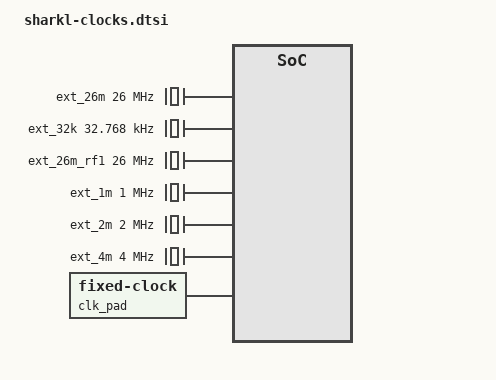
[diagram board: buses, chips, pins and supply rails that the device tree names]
/*
 * Spreadtrum Sharkl Series SoC Clock DTS file
 *
 * Copyright (C) 2015, Spreadtrum Communications Inc.
 *
 * This file is licensed under a dual GPLv2 or X11 license.
 */
&soc {
	ext_26m: ext-26m {
		compatible = "fixed-clock";
		#clock-cells = <0>;
		clock-frequency = <26000000>;
		clock-output-names = "ext_26m";
	};

	ext_32k: ext-32k {
		compatible = "fixed-clock";
		#clock-cells = <0>;
		clock-frequency = <32768>;
		clock-output-names = "ext_32k";
	};

	ext_26m_rf1: ext-26m-rf1 {
		compatible = "fixed-clock";
		#clock-cells = <0>;
		clock-frequency = <26000000>;
		clock-output-names = "ext_26m_rf1";
	};

	ext_1m: ext-1m {
		compatible = "fixed-clock";
		#clock-cells = <0>;
		clock-frequency = <1000000>;
		clock-output-names = "ext_1m";
	};

	ext_2m: ext-2m {
		compatible = "fixed-clock";
		#clock-cells = <0>;
		clock-frequency = <2000000>;
		clock-output-names = "ext_2m";
	};

	ext_4m: ext-4m {
		compatible = "fixed-clock";
		#clock-cells = <0>;
		clock-frequency = <4000000>;
		clock-output-names = "ext_4m";
	};

	clk_pad: clk-pad {
		compatible = "fixed-clock";
		#clock-cells = <0>;
		clock-frequency = <64000000>;
		clock-output-names = "clk_pad";
	};
};
